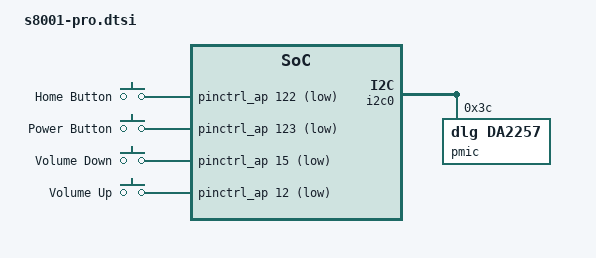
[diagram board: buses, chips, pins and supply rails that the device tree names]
// SPDX-License-Identifier: GPL-2.0+ OR MIT
/*
 * Apple iPad Pro (1st generation) common device tree
 *
 * Copyright (c) 2022, Konrad Dybcio <konradybcio@kernel.org>
 */

#include "s8001.dtsi"
#include "s8001-common.dtsi"
#include <dt-bindings/input/input.h>

/ {
	chassis-type = "tablet";

	gpio-keys {
		compatible = "gpio-keys";

		button-home {
			label = "Home Button";
			gpios = <&pinctrl_ap 122 GPIO_ACTIVE_LOW>;
			linux,code = <KEY_HOMEPAGE>;
			wakeup-source;
		};

		button-power {
			label = "Power Button";
			gpios = <&pinctrl_ap 123 GPIO_ACTIVE_LOW>;
			linux,code = <KEY_POWER>;
			wakeup-source;
		};

		button-voldown {
			label = "Volume Down";
			gpios = <&pinctrl_ap 15 GPIO_ACTIVE_LOW>;
			linux,code = <KEY_VOLUMEDOWN>;
		};

		button-volup {
			label = "Volume Up";
			gpios = <&pinctrl_ap 12 GPIO_ACTIVE_LOW>;
			linux,code = <KEY_VOLUMEUP>;
		};
	};
};

&i2c0 {
	status = "okay";

	pmic@3c {
		compatible = "dlg,da2257", "dlg,i2c-da2xxx";
		reg = <0x3c>;
		#address-cells = <1>;
		#size-cells = <1>;

		rtc@500 {
			compatible = "dlg,da2257-rtc", "dlg,da2255-rtc";
			reg = <0x500 0x10>;
			nvmem-cells = <&rtc_offset>;
			nvmem-cell-names = "rtc_offset";
		};

		backlight@b00 {
			compatible = "dlg,da2257-bl";
			reg = <0xb00 0x2>;
		};

		nvmem@5000 {
			compatible = "dlg,da2xxx-nvmem";
			reg = <0x5000 0x28>;

			nvmem-layout {
				compatible = "fixed-layout";
				#address-cells = <1>;
				#size-cells = <1>;

				rtc_offset: rtc-offset@4 {
					reg = <0x4 0x4>;
				};
			};
		};
	};
};
